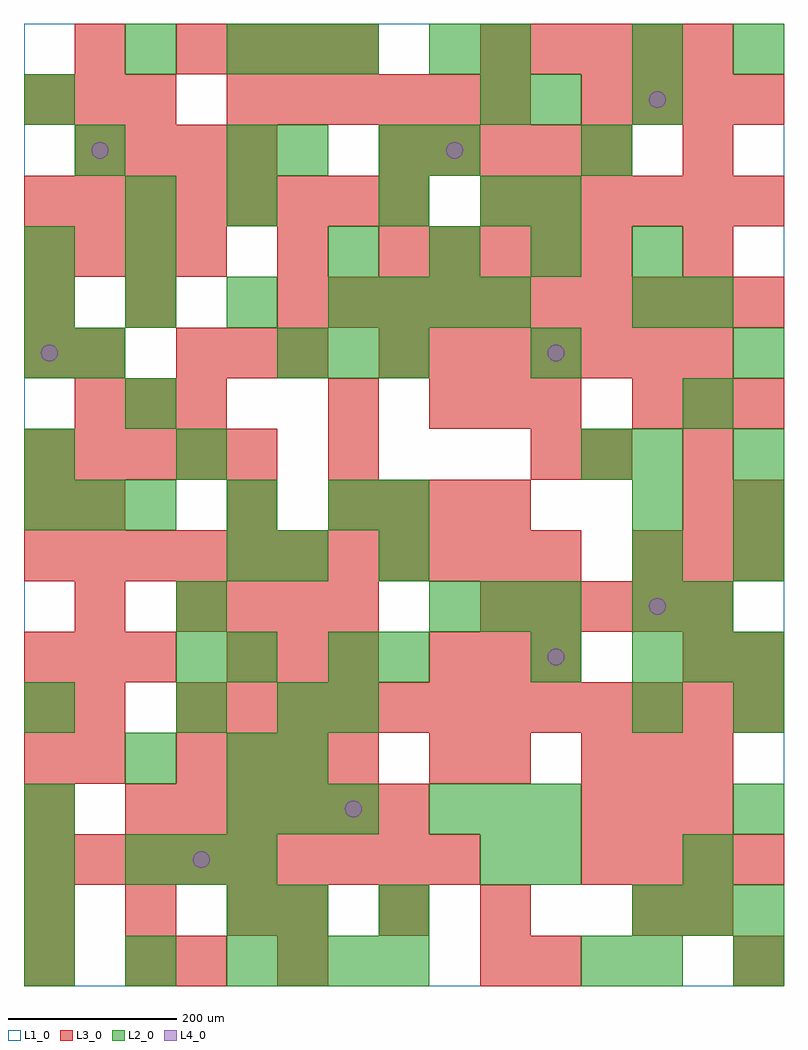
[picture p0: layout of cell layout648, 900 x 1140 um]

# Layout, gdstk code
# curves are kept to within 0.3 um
import gdstk
lib = gdstk.Library(unit=1e-6, precision=1e-09)
def R(c, l, rs):  # rectangles x0, y0, x1, y1
    for r in rs: c.add(gdstk.rectangle(r[:2], r[2:], *l))
def A(c, l, x, y, w, h, nx, ny, dx, dy):  # array of equal rectangles
    R(c, l, [(x+i*dx, y+j*dy, x+i*dx+w, y+j*dy+h) for i in range(nx) for j in range(ny)])
def P(c, l, *ps):  # polygons
    for p in ps: c.add(gdstk.Polygon(p, *l))
L1_0 = (1, 0)
L2_0 = (2, 0)
L3_0 = (3, 0)
L4_0 = (4, 0)

layout648 = lib.new_cell('layout648')
R(layout648, L1_0, [(0,0,900,1140)])
A(layout648, L2_0, 0, 0, 60, 60, 3, 1, 120, 0)
A(layout648, L2_0, 300, 0, 60, 60, 3, 2, 60, 720)
A(layout648, L2_0, 0, 60, 60, 60, 1, 3, 0, 60)
A(layout648, L2_0, 720, 60, 60, 60, 3, 2, 60, 300)
A(layout648, L2_0, 120, 120, 60, 60, 3, 1, 60, 0)
A(layout648, L2_0, 240, 180, 60, 60, 3, 2, 60, 900)
A(layout648, L2_0, 480, 180, 60, 60, 3, 2, 60, 240)
A(layout648, L2_0, 240, 240, 60, 60, 1, 3, 0, 120)
A(layout648, L2_0, 180, 300, 60, 60, 1, 3, 0, 60)
A(layout648, L2_0, 720, 420, 60, 60, 1, 4, 0, 60)
A(layout648, L2_0, 840, 480, 60, 60, 1, 3, 0, 60)
A(layout648, L2_0, 0, 540, 60, 60, 3, 1, 60, 0)
A(layout648, L2_0, 0, 600, 60, 60, 1, 3, 0, 120)
A(layout648, L2_0, 0, 780, 60, 60, 4, 1, 120, 0)
A(layout648, L2_0, 420, 780, 60, 60, 3, 1, 60, 0)
A(layout648, L2_0, 360, 840, 60, 60, 4, 1, 120, 0)
R(layout648, L2_0, [(660,0,720,60), (720,0,780,60), (840,0,900,60), (240,60,300,120), (300,60,360,120), (420,60,480,120), (540,120,600,180), (600,120,660,180), (780,120,840,180), (840,180,900,240), (120,240,180,300), (300,240,360,300), (0,300,60,360), (300,300,360,360), (360,300,420,360), (720,300,780,360), (840,300,900,360), (360,360,420,420), (420,360,480,420), (600,360,660,420), (780,420,840,480), (300,480,360,540), (420,480,480,540), (240,540,300,600), (360,540,420,600), (420,540,480,600), (180,600,240,660), (660,600,720,660), (120,660,180,720), (780,660,840,720), (60,720,120,780), (600,720,660,780), (840,720,900,780), (720,780,780,840), (780,780,840,840), (120,840,180,900), (120,900,180,960), (240,900,300,960), (420,900,480,960), (540,900,600,960), (600,900,660,960), (60,960,120,1020), (240,960,300,1020), (300,960,360,1020), (420,960,480,1020), (480,960,540,1020), (660,960,720,1020), (0,1020,60,1080), (540,1020,600,1080), (600,1020,660,1080), (720,1020,780,1080), (120,1080,180,1140), (480,1080,540,1140), (540,1080,600,1140), (720,1080,780,1140), (840,1080,900,1140)])
A(layout648, L3_0, 0, 60, 60, 60, 3, 1, 120, 0)
A(layout648, L3_0, 300, 60, 60, 60, 3, 1, 120, 0)
A(layout648, L3_0, 0, 120, 60, 60, 9, 1, 60, 0)
A(layout648, L3_0, 660, 120, 60, 60, 4, 2, 60, 900)
A(layout648, L3_0, 0, 180, 60, 60, 1, 3, 0, 60)
A(layout648, L3_0, 120, 180, 60, 60, 6, 1, 60, 0)
A(layout648, L3_0, 660, 180, 60, 60, 3, 2, 60, 60)
A(layout648, L3_0, 180, 240, 60, 60, 4, 2, 60, 180)
A(layout648, L3_0, 60, 300, 60, 60, 1, 3, 0, 120)
A(layout648, L3_0, 180, 300, 60, 60, 12, 1, 60, 0)
A(layout648, L3_0, 0, 360, 60, 60, 3, 2, 60, 660)
A(layout648, L3_0, 240, 360, 60, 60, 3, 1, 60, 0)
A(layout648, L3_0, 480, 360, 60, 60, 3, 2, 60, 300)
A(layout648, L3_0, 540, 420, 60, 60, 5, 2, 60, 660)
A(layout648, L3_0, 0, 480, 60, 60, 11, 1, 60, 0)
A(layout648, L3_0, 720, 480, 60, 60, 3, 2, 60, 180)
A(layout648, L3_0, 360, 540, 60, 60, 4, 1, 60, 0)
A(layout648, L3_0, 0, 600, 60, 60, 5, 1, 60, 0)
A(layout648, L3_0, 60, 660, 60, 60, 3, 1, 60, 0)
A(layout648, L3_0, 180, 720, 60, 60, 3, 1, 60, 0)
A(layout648, L3_0, 420, 720, 60, 60, 7, 1, 60, 0)
A(layout648, L3_0, 300, 780, 60, 60, 10, 1, 60, 0)
A(layout648, L3_0, 0, 840, 60, 60, 4, 1, 60, 0)
A(layout648, L3_0, 420, 840, 60, 60, 5, 2, 60, 120)
A(layout648, L3_0, 0, 900, 60, 60, 8, 1, 60, 0)
A(layout648, L3_0, 540, 900, 60, 60, 6, 1, 60, 0)
A(layout648, L3_0, 60, 960, 60, 60, 4, 1, 60, 0)
A(layout648, L3_0, 240, 1020, 60, 60, 6, 1, 60, 0)
A(layout648, L3_0, 180, 1080, 60, 60, 4, 1, 60, 0)
R(layout648, L3_0, [(0,0,60,60), (120,0,180,60), (180,0,240,60), (300,0,360,60), (540,0,600,60), (600,0,660,60), (840,0,900,60), (720,60,780,120), (780,60,840,120), (60,240,120,300), (480,240,540,300), (540,240,600,300), (780,360,840,420), (840,360,900,420), (0,540,60,600), (240,540,300,600), (780,540,840,600), (840,540,900,600), (360,600,420,660), (600,600,660,660), (660,600,720,660), (780,600,840,660), (360,660,420,720), (0,720,60,780), (60,720,120,780), (0,780,60,840), (120,780,180,840), (300,840,360,900), (780,840,840,900), (780,960,840,1020), (60,1080,120,1140)])
P(layout648, L4_0, [(40,750),(39.239,753.827),(37.071,757.071),(33.827,759.239),(30,760),(26.173,759.239),(22.929,757.071),(20.761,753.827),(20,750),(20.761,746.173),(22.929,742.929),(26.173,740.761),(30,740),(33.827,740.761),(37.071,742.929),(39.239,746.173)],
  [(100,990),(99.239,993.827),(97.071,997.071),(93.827,999.239),(90,1000),(86.173,999.239),(82.929,997.071),(80.761,993.827),(80,990),(80.761,986.173),(82.929,982.929),(86.173,980.761),(90,980),(93.827,980.761),(97.071,982.929),(99.239,986.173)],
  [(220,150),(219.239,153.827),(217.071,157.071),(213.827,159.239),(210,160),(206.173,159.239),(202.929,157.071),(200.761,153.827),(200,150),(200.761,146.173),(202.929,142.929),(206.173,140.761),(210,140),(213.827,140.761),(217.071,142.929),(219.239,146.173)],
  [(400,210),(399.239,213.827),(397.071,217.071),(393.827,219.239),(390,220),(386.173,219.239),(382.929,217.071),(380.761,213.827),(380,210),(380.761,206.173),(382.929,202.929),(386.173,200.761),(390,200),(393.827,200.761),(397.071,202.929),(399.239,206.173)],
  [(520,990),(519.239,993.827),(517.071,997.071),(513.827,999.239),(510,1000),(506.173,999.239),(502.929,997.071),(500.761,993.827),(500,990),(500.761,986.173),(502.929,982.929),(506.173,980.761),(510,980),(513.827,980.761),(517.071,982.929),(519.239,986.173)],
  [(640,390),(639.239,393.827),(637.071,397.071),(633.827,399.239),(630,400),(626.173,399.239),(622.929,397.071),(620.761,393.827),(620,390),(620.761,386.173),(622.929,382.929),(626.173,380.761),(630,380),(633.827,380.761),(637.071,382.929),(639.239,386.173)],
  [(640,750),(639.239,753.827),(637.071,757.071),(633.827,759.239),(630,760),(626.173,759.239),(622.929,757.071),(620.761,753.827),(620,750),(620.761,746.173),(622.929,742.929),(626.173,740.761),(630,740),(633.827,740.761),(637.071,742.929),(639.239,746.173)],
  [(760,450),(759.239,453.827),(757.071,457.071),(753.827,459.239),(750,460),(746.173,459.239),(742.929,457.071),(740.761,453.827),(740,450),(740.761,446.173),(742.929,442.929),(746.173,440.761),(750,440),(753.827,440.761),(757.071,442.929),(759.239,446.173)],
  [(760,1050),(759.239,1053.827),(757.071,1057.071),(753.827,1059.239),(750,1060),(746.173,1059.239),(742.929,1057.071),(740.761,1053.827),(740,1050),(740.761,1046.173),(742.929,1042.929),(746.173,1040.761),(750,1040),(753.827,1040.761),(757.071,1042.929),(759.239,1046.173)])

lib.write_gds('layout648.gds')
